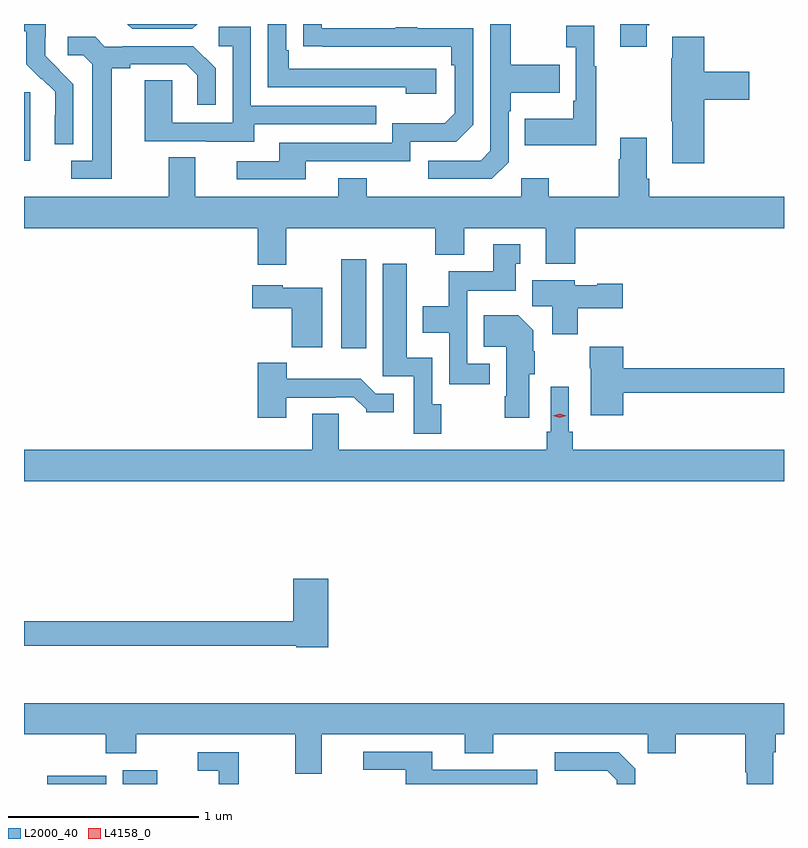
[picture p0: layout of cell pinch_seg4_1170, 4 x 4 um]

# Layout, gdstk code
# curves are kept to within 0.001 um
import gdstk
lib = gdstk.Library(unit=1e-6, precision=1e-09)
def R(c, l, rs):  # rectangles x0, y0, x1, y1
    for r in rs: c.add(gdstk.rectangle(r[:2], r[2:], *l))
def P(c, l, *ps):  # polygons
    for p in ps: c.add(gdstk.Polygon(p, *l))
L2000_40 = (2000, 40)
L4158_0 = (4158, 0)

pinch_seg4_1170 = lib.new_cell('pinch_seg4_1170')
R(pinch_seg4_1170, L2000_40, [(556.089,773.914,556.398,773.958), (556.487,773.914,556.666,773.986), (557.636,776.208,557.767,776.677), (555.966,777.194,556,777.555)])
P(pinch_seg4_1170, L2000_40, [(559.243,777.907),(559.256,777.907),(559.256,777.914),(559.103,777.914),(559.103,777.795),(559.243,777.795)],
  [(556.224,777.598),(556.078,777.746),(556.078,777.843),(556.08,777.843),(556.08,777.914),(555.966,777.914),(555.966,777.876),(555.979,777.876),(555.979,777.701),(556.056,777.624),(556.059,777.627),(556.13,777.557),(556.13,777.434),(556.128,777.434),(556.128,777.28),(556.224,777.28)],
  [(556.877,777.914),(556.51,777.914),(556.536,777.888),(556.851,777.888)],
  [(558.136,777.678),(557.359,777.678),(557.359,777.775),(557.346,777.775),(557.346,777.914),(557.25,777.914),(557.25,777.582),(557.975,777.582),(557.975,777.548),(558.136,777.548)],
  [(557.449,777.192),(558,777.192),(558,777.294),(558.24,777.294),(558.33,777.384),(558.33,777.891),(558.035,777.891),(558.035,777.896),(557.923,777.896),(557.923,777.891),(557.533,777.891),(557.533,777.914),(557.437,777.914),(557.437,777.796),(558.214,777.795),(558.214,777.698),(558.234,777.698),(558.234,777.444),(558.181,777.391),(557.904,777.391),(557.904,777.288),(557.309,777.288),(557.309,777.192),(557.085,777.192),(557.085,777.096),(557.449,777.096)],
  [(558.516,777.186),(558.516,777.455),(558.529,777.455),(558.529,777.551),(558.785,777.551),(558.785,777.699),(558.529,777.699),(558.529,777.914),(558.42,777.914),(558.42,777.246),(558.369,777.195),(558.093,777.195),(558.093,777.099),(558.429,777.099)],
  [(558.979,777.691),(558.967,777.691),(558.967,777.904),(558.819,777.904),(558.819,777.791),(558.87,777.791),(558.87,777.511),(558.858,777.511),(558.858,777.415),(558.601,777.415),(558.601,777.275),(558.979,777.275)],
  [(557.179,777.387),(557.819,777.387),(557.819,777.483),(557.16,777.483),(557.16,777.899),(556.992,777.899),(556.992,777.798),(557.064,777.798),(557.064,777.393),(556.746,777.393),(556.746,777.617),(556.601,777.617),(556.601,777.297),(556.925,777.297),(556.925,777.293),(557.179,777.293)],
  [(556.429,777.68),(556.525,777.68),(556.525,777.702),(556.82,777.702),(556.877,777.645),(556.877,777.489),(556.974,777.489),(556.974,777.682),(556.858,777.798),(556.486,777.798),(556.486,777.795),(556.392,777.795),(556.34,777.847),(556.197,777.847),(556.197,777.75),(556.278,777.75),(556.325,777.703),(556.325,777.195),(556.215,777.195),(556.215,777.099),(556.429,777.099)],
  [(559.547,777.515),(559.783,777.515),(559.783,777.662),(559.547,777.662),(559.547,777.847),(559.379,777.847),(559.379,777.734),(559.372,777.734),(559.372,777.403),(559.379,777.403),(559.379,777.18),(559.547,777.18)],
  [(558.131,776.699),(558.283,776.699),(558.283,776.84),(558.713,776.84),(558.713,776.651),(558.866,776.651),(558.866,776.84),(559.966,776.84),(559.966,777.004),(559.256,777.004),(559.256,777.1),(559.243,777.1),(559.243,777.316),(559.103,777.316),(559.103,777.203),(559.096,777.203),(559.096,777.004),(558.729,777.004),(558.729,777.103),(558.582,777.103),(558.582,777.004),(557.769,777.004),(557.769,777.103),(557.621,777.103),(557.621,777.004),(556.867,777.004),(556.867,777.212),(556.727,777.212),(556.727,777.004),(555.966,777.004),(555.966,776.84),(557.195,776.84),(557.195,776.646),(557.347,776.646),(557.347,776.84),(558.131,776.84)],
  [(558.418,776.127),(558.3,776.127),(558.3,776.51),(558.553,776.51),(558.553,776.652),(558.577,776.652),(558.577,776.755),(558.437,776.755),(558.437,776.614),(558.202,776.614),(558.202,776.428),(558.065,776.428),(558.065,776.288),(558.204,776.288),(558.204,776.019),(558.418,776.019)],
  [(558.162,775.914),(558.114,775.914),(558.114,776.158),(557.98,776.158),(557.98,776.653),(557.855,776.653),(557.855,776.061),(558.018,776.061),(558.018,775.758),(558.162,775.758)],
  [(558.881,776.417),(559.117,776.417),(559.117,776.547),(558.984,776.547),(558.984,776.539),(558.864,776.539),(558.864,776.566),(558.641,776.566),(558.641,776.428),(558.746,776.428),(558.746,776.28),(558.881,776.28)],
  [(557.536,776.527),(557.328,776.527),(557.328,776.539),(557.166,776.539),(557.166,776.417),(557.374,776.417),(557.374,776.213),(557.536,776.213)],
  [(558.625,776.07),(558.654,776.07),(558.654,776.192),(558.646,776.192),(558.646,776.302),(558.568,776.38),(558.385,776.38),(558.385,776.216),(558.503,776.216),(558.503,775.954),(558.496,775.954),(558.496,775.842),(558.625,775.842)],
  [(559.121,775.974),(559.966,775.974),(559.966,776.102),(559.121,776.102),(559.121,776.215),(558.943,776.215),(558.943,776.102),(558.95,776.102),(558.95,775.854),(559.121,775.854)],
  [(557.347,775.947),(557.603,775.947),(557.603,775.95),(557.702,775.95),(557.766,775.886),(557.766,775.871),(557.911,775.871),(557.911,775.968),(557.817,775.968),(557.739,776.047),(557.35,776.047),(557.35,776.131),(557.195,776.131),(557.195,775.842),(557.347,775.842)],
  [(559.966,775.672),(558.854,775.672),(558.854,775.768),(558.834,775.768),(558.834,776.005),(558.738,776.005),(558.738,775.768),(558.718,775.768),(558.718,775.672),(557.623,775.672),(557.623,775.862),(557.483,775.862),(557.483,775.672),(555.966,775.672),(555.966,775.508),(559.966,775.508)],
  [(557.567,774.994),(557.384,774.994),(557.384,774.77),(555.966,774.77),(555.966,774.642),(557.4,774.642),(557.4,774.634),(557.567,774.634)],
  [(559.909,774.08),(559.922,774.08),(559.922,774.176),(559.966,774.176),(559.966,774.34),(555.966,774.34),(555.966,774.176),(556.397,774.176),(556.397,774.077),(556.557,774.077),(556.557,774.176),(557.393,774.176),(557.393,773.968),(557.533,773.968),(557.533,774.176),(558.287,774.176),(558.287,774.077),(558.435,774.077),(558.435,774.176),(559.248,774.176),(559.248,774.077),(559.395,774.077),(559.395,774.176),(559.762,774.176),(559.762,773.977),(559.769,773.977),(559.769,773.914),(559.909,773.914)],
  [(558.666,773.988),(558.115,773.988),(558.115,774.084),(557.751,774.084),(557.751,773.988),(557.975,773.988),(557.975,773.914),(558.666,773.914)],
  [(557.095,774.081),(556.881,774.081),(556.881,773.985),(556.991,773.985),(556.991,773.914),(557.095,773.914)],
  [(559.182,773.994),(559.095,774.081),(558.759,774.081),(558.759,773.985),(559.035,773.985),(559.086,773.934),(559.086,773.914),(559.182,773.914)])
P(pinch_seg4_1170, L4158_0, [(558.786,775.842),(558.75,775.852),(558.75,775.852),(558.75,775.853),(558.786,775.862),(558.821,775.853),(558.821,775.852),(558.821,775.852)])

lib.write_gds('pinch_seg4_1170.gds')
